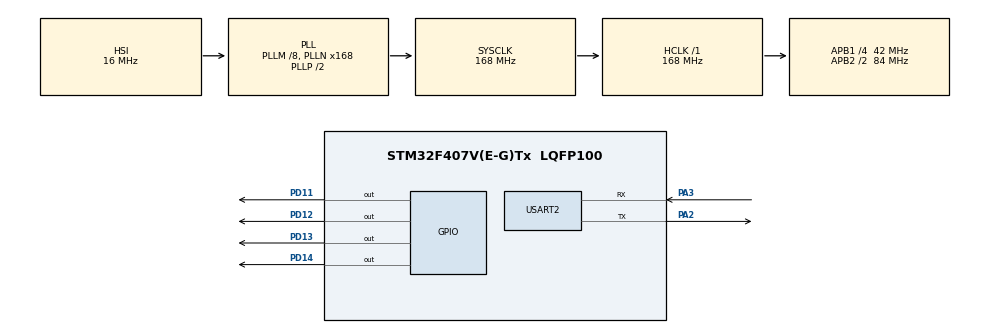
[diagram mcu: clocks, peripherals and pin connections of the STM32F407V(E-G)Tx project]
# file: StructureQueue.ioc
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FREERTOS.Tasks01=defaultTask,0,128,StartDefaultTask,Default,NULL,Dynamic,NULL,NULL
FREERTOS.configUSE_NEWLIB_REENTRANT=1
Mcu.Family=STM32F4
Mcu.Name=STM32F407V(E-G)Tx
Mcu.Package=LQFP100
NVIC.PriorityGroup=NVIC_PRIORITYGROUP_4
NVIC.TIM1_UP_TIM10_IRQn=true\:15\:0\:false\:false\:true\:false\:false\:true\:true
NVIC.TimeBase=TIM1_UP_TIM10_IRQn
NVIC.TimeBaseIP=TIM1
NVIC.USART2_IRQn=true\:5\:0\:false\:false\:true\:true\:true\:true\:true
PA13.Mode=Serial_Wire
PA13.Signal=SYS_JTMS-SWDIO
PA14.Mode=Serial_Wire
PA14.Signal=SYS_JTCK-SWCLK
PA2.Mode=Asynchronous
PA2.Signal=USART2_TX
PA3.Mode=Asynchronous
PA3.Signal=USART2_RX
PD11.Signal=GPIO_Output
PD12.Signal=GPIO_Output
PD13.Signal=GPIO_Output
PD14.Signal=GPIO_Output
PH0-OSC_IN.Mode=HSE-External-Oscillator
PH0-OSC_IN.Signal=RCC_OSC_IN
PH1-OSC_OUT.Mode=HSE-External-Oscillator
PH1-OSC_OUT.Signal=RCC_OSC_OUT
ProjectManager.HeapSize=0x200
ProjectManager.StackSize=0x400
ProjectManager.TargetToolchain=STM32CubeIDE
RCC.48MHZClocksFreq_Value=84000000
RCC.AHBFreq_Value=168000000
RCC.APB1CLKDivider=RCC_HCLK_DIV4
RCC.APB1Freq_Value=42000000
RCC.APB1TimFreq_Value=84000000
RCC.APB2CLKDivider=RCC_HCLK_DIV2
RCC.APB2Freq_Value=84000000
RCC.APB2TimFreq_Value=168000000
RCC.CortexFreq_Value=168000000
RCC.HCLKFreq_Value=168000000
RCC.HSE_VALUE=25000000
RCC.HSI_VALUE=16000000
RCC.LSE_VALUE=32768
RCC.PLLM=8
RCC.PLLN=168
RCC.SYSCLKFreq_VALUE=168000000
RCC.SYSCLKSource=RCC_SYSCLKSOURCE_PLLCLK
RCC.VCOOutputFreq_Value=336000000
USART2.VirtualMode=VM_ASYNC
VP_FREERTOS_VS_CMSIS_V1.Mode=CMSIS_V1
VP_SYS_VS_tim1.Mode=TIM1
board=custom

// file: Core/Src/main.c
/* USER CODE BEGIN Header */
/**
  ******************************************************************************
  * @file           : main.c
  * @brief          : Main program body
  ******************************************************************************
  * @attention
  *
  * Copyright (c) 2023 STMicroelectronics.
  * All rights reserved.
  *
  * This software is licensed under terms that can be found in the LICENSE file
  * in the root directory of this software component.
  * If no LICENSE file comes with this software, it is provided AS-IS.
  *
  ******************************************************************************
  */
/* USER CODE END Header */
#include "main.h"
//#include "cmsis_os.h"

/* USER CODE BEGIN Includes */
#include "FreeRTOS.h"
#include "task.h"
#include "timers.h"
#include "queue.h"
#include "semphr.h"
#include "event_groups.h"
#include "string.h"
#include "stdio.h"
/* USER CODE END Includes */

UART_HandleTypeDef huart2;

void SystemClock_Config(void);
static void MX_GPIO_Init(void);
static void MX_USART2_UART_Init(void);

/* USER CODE BEGIN PFP */
void Sender1_Task (void *argument);
void Sender2_Task (void *argument);
void Receiver_Task (void *argument);
/* USER CODE END PFP */

/* USER CODE BEGIN 0 */
xQueueHandle SimpleQueue;

xTaskHandle Sender1_Task_Handler;
xTaskHandle Sender2_Task_Handler;
xTaskHandle Receiver_Task_Handler;

typedef struct {
	char *str;
	int counter;
	uint16_t large_value;
} my_struct;

int indx1 = 0;
int indx2 = 0;
/* USER CODE END 0 */

int main(void)
{

  /* MCU Configuration--------------------------------------------------------*/

  /* Reset of all peripherals, Initializes the Flash interface and the Systick. */
  HAL_Init();

  /* Configure the system clock */
  SystemClock_Config();

  /* Initialize all configured peripherals */
  MX_GPIO_Init();
  MX_USART2_UART_Init();
  /* USER CODE BEGIN 2 */
  SimpleQueue = xQueueCreate(2, sizeof (my_struct));
   if (SimpleQueue == 0)  // Queue not created
   {
 	  char *str = "Unable to create Integer Queue\n\n";
 	  HAL_UART_Transmit(&huart2, (uint8_t *)str, strlen (str), HAL_MAX_DELAY);
   }
   else
   {
 	  char *str = "Integer Queue Created successfully\n\n";
 	  HAL_UART_Transmit(&huart2, (uint8_t *)str, strlen (str), HAL_MAX_DELAY);
   }

   xTaskCreate(Sender1_Task, "Sender1", 128, NULL, 2, &Sender1_Task_Handler);
   xTaskCreate(Sender2_Task, "Sender2", 128, NULL, 2, &Sender2_Task_Handler);
   xTaskCreate(Receiver_Task, "receiver", 128, NULL, 1, &Receiver_Task_Handler);

   vTaskStartScheduler();

  /* USER CODE END 2 */

  /* We should never get here as control is now taken by the scheduler */
  /* Infinite loop */
  while (1)
  {

  }
}

void SystemClock_Config(void)
{
  RCC_OscInitTypeDef RCC_OscInitStruct = {0};
  RCC_ClkInitTypeDef RCC_ClkInitStruct = {0};

  /** Configure the main internal regulator output voltage
  */
  __HAL_RCC_PWR_CLK_ENABLE();
  __HAL_PWR_VOLTAGESCALING_CONFIG(PWR_REGULATOR_VOLTAGE_SCALE1);

  /** Initializes the RCC Oscillators according to the specified parameters
  * in the RCC_OscInitTypeDef structure.
  */
  RCC_OscInitStruct.OscillatorType = RCC_OSCILLATORTYPE_HSI;
  RCC_OscInitStruct.HSIState = RCC_HSI_ON;
  RCC_OscInitStruct.HSICalibrationValue = RCC_HSICALIBRATION_DEFAULT;
  RCC_OscInitStruct.PLL.PLLState = RCC_PLL_ON;
  RCC_OscInitStruct.PLL.PLLSource = RCC_PLLSOURCE_HSI;
  RCC_OscInitStruct.PLL.PLLM = 8;
  RCC_OscInitStruct.PLL.PLLN = 168;
  RCC_OscInitStruct.PLL.PLLP = RCC_PLLP_DIV2;
  RCC_OscInitStruct.PLL.PLLQ = 4;
  if (HAL_RCC_OscConfig(&RCC_OscInitStruct) != HAL_OK)
  {
    Error_Handler();
  }

  /** Initializes the CPU, AHB and APB buses clocks
  */
  RCC_ClkInitStruct.ClockType = RCC_CLOCKTYPE_HCLK|RCC_CLOCKTYPE_SYSCLK
                              |RCC_CLOCKTYPE_PCLK1|RCC_CLOCKTYPE_PCLK2;
  RCC_ClkInitStruct.SYSCLKSource = RCC_SYSCLKSOURCE_PLLCLK;
  RCC_ClkInitStruct.AHBCLKDivider = RCC_SYSCLK_DIV1;
  RCC_ClkInitStruct.APB1CLKDivider = RCC_HCLK_DIV4;
  RCC_ClkInitStruct.APB2CLKDivider = RCC_HCLK_DIV2;

  if (HAL_RCC_ClockConfig(&RCC_ClkInitStruct, FLASH_LATENCY_5) != HAL_OK)
  {
    Error_Handler();
  }
}

static void MX_USART2_UART_Init(void)
{

  huart2.Instance = USART2;
  huart2.Init.BaudRate = 115200;
  huart2.Init.WordLength = UART_WORDLENGTH_8B;
  huart2.Init.StopBits = UART_STOPBITS_1;
  huart2.Init.Parity = UART_PARITY_NONE;
  huart2.Init.Mode = UART_MODE_TX_RX;
  huart2.Init.HwFlowCtl = UART_HWCONTROL_NONE;
  huart2.Init.OverSampling = UART_OVERSAMPLING_16;
  if (HAL_UART_Init(&huart2) != HAL_OK)
  {
    Error_Handler();
  }

}

static void MX_GPIO_Init(void)
{
  GPIO_InitTypeDef GPIO_InitStruct = {0};

  /* GPIO Ports Clock Enable */
  __HAL_RCC_GPIOH_CLK_ENABLE();
  __HAL_RCC_GPIOA_CLK_ENABLE();
  __HAL_RCC_GPIOD_CLK_ENABLE();

  /*Configure GPIO pin Output Level */
  HAL_GPIO_WritePin(GPIOD, GPIO_PIN_11|GPIO_PIN_12|GPIO_PIN_13|GPIO_PIN_14, GPIO_PIN_RESET);

  /*Configure GPIO pins : PD11 PD12 PD13 PD14 */
  GPIO_InitStruct.Pin = GPIO_PIN_11|GPIO_PIN_12|GPIO_PIN_13|GPIO_PIN_14;
  GPIO_InitStruct.Mode = GPIO_MODE_OUTPUT_PP;
  GPIO_InitStruct.Pull = GPIO_NOPULL;
  GPIO_InitStruct.Speed = GPIO_SPEED_FREQ_LOW;
  HAL_GPIO_Init(GPIOD, &GPIO_InitStruct);

}

/* USER CODE BEGIN 4 */
void Sender1_Task (void *argument)
{
	my_struct *ptrtostruct;

	while(1)
	{
		char *str = "Entered sender1 task\n about to send to the queue\n";
		HAL_UART_Transmit(&huart2, (uint8_t *)str, strlen(str), portMAX_DELAY);

		ptrtostruct = pvPortMalloc(sizeof(my_struct));

		ptrtostruct->counter = 1+indx1;
		ptrtostruct->large_value = 1000 + indx1*1000;
		ptrtostruct->str = "HELLO FROM SENDER 1";

		if(xQueueSend(SimpleQueue, &ptrtostruct, portMAX_DELAY) == pdPASS)
		{
			char *str2 = "Successfull send the queue\n Leaving the task 1\n";
			HAL_UART_Transmit(&huart2, (uint8_t *)str2, strlen(str2), portMAX_DELAY);
		}

		indx1++;
		vTaskDelay(pdMS_TO_TICKS(2000));
	}
}

void Sender2_Task (void *argument)
{
	my_struct *ptrtostruct;

	while(1)
	{
		char *str = "Entered sender2 task\n about to send to the queue\n";
		HAL_UART_Transmit(&huart2, (uint8_t *)str, strlen(str), portMAX_DELAY);

		ptrtostruct = pvPortMalloc(sizeof(my_struct));

		ptrtostruct->counter = 1+indx2;
		ptrtostruct->large_value = 1000 + indx2*1000;
		ptrtostruct->str = "HELLO FROM SENDER 2";

		if(xQueueSend(SimpleQueue, &ptrtostruct, portMAX_DELAY) == pdPASS)
		{
			char *str2 = "Successfull send the queue\n Leaving the task 2\n";
			HAL_UART_Transmit(&huart2, (uint8_t *)str2, strlen(str2), portMAX_DELAY);
		}

		indx2++;
		vTaskDelay(pdMS_TO_TICKS(2000));
	}
}

void Receiver_Task (void *argument)
{
	my_struct *Rptrtostruct;
	char *ptr;
	while(1)
	{
		char *str = "Entered RECEIVER task\n about to receiver FROM the queue\n";
		HAL_UART_Transmit(&huart2, (uint8_t *)str, strlen(str), portMAX_DELAY);

		if(xQueueReceive(SimpleQueue, &Rptrtostruct, portMAX_DELAY) == pdPASS)
		{
			ptr = pvPortMalloc(100 * sizeof (char));
			sprintf(ptr, "Receive from the queue:\n counter = %d\n LARGE VALUE = %u\n STRING = %s\n", Rptrtostruct->counter, Rptrtostruct->large_value, Rptrtostruct->str);

			HAL_UART_Transmit(&huart2, (uint8_t *)ptr, strlen(ptr), portMAX_DELAY);

			vPortFree(ptr);
		}else {
			HAL_UART_Transmit(&huart2, (uint8_t *)"Reception failed.....", 30, portMAX_DELAY);
		}

		vPortFree(Rptrtostruct);
		vTaskDelay(pdMS_TO_TICKS(3000));
	}
}
/* USER CODE END 4 */

void HAL_TIM_PeriodElapsedCallback(TIM_HandleTypeDef *htim)
{
  if (htim->Instance == TIM1) {
    HAL_IncTick();
  }
}

void Error_Handler(void)
{
  __disable_irq();
  while (1)
  {
  }
}
